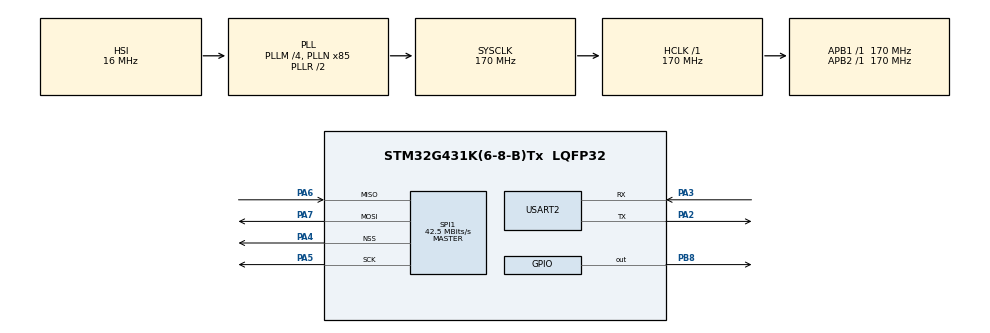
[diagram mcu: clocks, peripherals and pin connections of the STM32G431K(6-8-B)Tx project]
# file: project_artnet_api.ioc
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Mcu.Family=STM32G4
Mcu.Name=STM32G431K(6-8-B)Tx
Mcu.Package=LQFP32
NUCLEO-G431KB.LD2=true
NUCLEO-G431KB.VCP=false
NVIC.PriorityGroup=NVIC_PRIORITYGROUP_4
NVIC.SPI1_IRQn=true\:0\:0\:false\:false\:true\:true\:true\:true
NVIC.USART2_IRQn=true\:0\:0\:false\:false\:true\:true\:true\:true
PA13.GPIO_Label=T_SWDIO
PA13.Signal=SYS_JTMS-SWDIO
PA14.GPIO_Label=T_SWCLK
PA14.Signal=SYS_JTCK-SWCLK
PA2.Mode=Asynchronous
PA2.Signal=USART2_TX
PA3.Mode=Asynchronous
PA3.Signal=USART2_RX
PA4.Mode=NSS_Signal_Hard_Output
PA4.Signal=SPI1_NSS
PA5.Mode=Full_Duplex_Master
PA5.Signal=SPI1_SCK
PA6.Mode=Full_Duplex_Master
PA6.Signal=SPI1_MISO
PA7.Mode=Full_Duplex_Master
PA7.Signal=SPI1_MOSI
PB3.GPIO_Label=T_SWO
PB3.Signal=SYS_JTDO-SWO
PB8-BOOT0.Signal=GPIO_Output
ProjectManager.HeapSize=0x200
ProjectManager.StackSize=0x400
ProjectManager.TargetToolchain=STM32CubeIDE
RCC.ADC12Freq_Value=170000000
RCC.AHBFreq_Value=170000000
RCC.APB1Freq_Value=170000000
RCC.APB1TimFreq_Value=170000000
RCC.APB2Freq_Value=170000000
RCC.APB2TimFreq_Value=170000000
RCC.CortexFreq_Value=170000000
RCC.EXTERNAL_CLOCK_VALUE=12288000
RCC.HCLKFreq_Value=170000000
RCC.HSE_VALUE=8000000
RCC.HSI48_VALUE=48000000
RCC.HSI_VALUE=16000000
RCC.LSE_VALUE=32768
RCC.PLLM=RCC_PLLM_DIV4
RCC.PLLN=85
RCC.SYSCLKFreq_VALUE=170000000
RCC.SYSCLKSource=RCC_SYSCLKSOURCE_PLLCLK
RCC.USBFreq_Value=170000000
RCC.VCOOutputFreq_Value=340000000
SPI1.BaudRatePrescaler=SPI_BAUDRATEPRESCALER_4
SPI1.CalculateBaudRate=42.5 MBits/s
SPI1.Direction=SPI_DIRECTION_2LINES
SPI1.Mode=SPI_MODE_MASTER
SPI1.VirtualNSS=VM_NSSHARD
SPI1.VirtualType=VM_MASTER
USART2.VirtualMode-Asynchronous=VM_ASYNC
VP_NUCLEO-G431KB_VS_BSP_COMMON.Mode=COMMON
VP_SYS_VS_DBSignals.Mode=DisableDeadBatterySignals
board=NUCLEO-G431KB

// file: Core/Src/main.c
/* USER CODE BEGIN Header */
/**
 ******************************************************************************
 * @file           : main.c
 * @brief          : Main program body
 ******************************************************************************
 * @attention
 *
 * Copyright (c) 2025 STMicroelectronics.
 * All rights reserved.
 *
 * This software is licensed under terms that can be found in the LICENSE file
 * in the root directory of this software component.
 * If no LICENSE file comes with this software, it is provided AS-IS.
 *
 ******************************************************************************
 */
/* USER CODE END Header */
#include "main.h"
#include "spi.h"
#include "usart.h"
#include "gpio.h"

/* USER CODE BEGIN PV */
uint8_t spi_rx_buffer[10];
/* USER CODE END PV */

void SystemClock_Config(void);

/* USER CODE BEGIN 0 */
int __io_putchar(int chr)
{
	HAL_UART_Transmit(&huart2, (uint8_t *)&chr, 1, 0xFFFFU);

	return chr;
}

int _write(int file, char ptr, int len)
{
	for (int i = 0; i < len; i++)
	{
		__io_putchar(ptr++);
	}
	return len;
}

void Receive_SPI_Data() {
	printf("---------- Receive_SPI_Data ----------\r\n");
	HAL_SPI_Receive(&hspi1, spi_rx_buffer, sizeof(spi_rx_buffer));
}

void HAL_SPI_RxCpltCallback(SPI_HandleTypeDef *hspi) {
	printf("---------- HAL_SPI_RxCpltCallback ----------\r\n");
	if (hspi->Instance == SPI1) {
		printf("SPI Data Received: %s\n", spi_rx_buffer);

		Receive_SPI_Data();
	}
}
/* USER CODE END 0 */

int main(void)
{

	/* MCU Configuration--------------------------------------------------------*/

	/* Reset of all peripherals, Initializes the Flash interface and the Systick. */
	HAL_Init();

	/* Configure the system clock */
	SystemClock_Config();

	/* Initialize all configured peripherals */
	MX_GPIO_Init();
	MX_SPI1_Init();
	MX_USART2_UART_Init();
	/* USER CODE BEGIN 2 */
	Receive_SPI_Data();
	printf("---------- BEGIN ----------\r\n");
	/* USER CODE END 2 */

	/* Initialize leds */
	BSP_LED_Init(LED_GREEN);

	/* Infinite loop */
	/* USER CODE BEGIN WHILE */
	while (1)
	{
		printf("---------- LOOP ----------\r\n");
		/* USER CODE END WHILE */

	}
}

void SystemClock_Config(void)
{
	RCC_OscInitTypeDef RCC_OscInitStruct = {0};
	RCC_ClkInitTypeDef RCC_ClkInitStruct = {0};

	/** Configure the main internal regulator output voltage
	 */
	HAL_PWREx_ControlVoltageScaling(PWR_REGULATOR_VOLTAGE_SCALE1_BOOST);

	/** Initializes the RCC Oscillators according to the specified parameters
	 * in the RCC_OscInitTypeDef structure.
	 */
	RCC_OscInitStruct.OscillatorType = RCC_OSCILLATORTYPE_HSI;
	RCC_OscInitStruct.HSIState = RCC_HSI_ON;
	RCC_OscInitStruct.HSICalibrationValue = RCC_HSICALIBRATION_DEFAULT;
	RCC_OscInitStruct.PLL.PLLState = RCC_PLL_ON;
	RCC_OscInitStruct.PLL.PLLSource = RCC_PLLSOURCE_HSI;
	RCC_OscInitStruct.PLL.PLLM = RCC_PLLM_DIV4;
	RCC_OscInitStruct.PLL.PLLN = 85;
	RCC_OscInitStruct.PLL.PLLP = RCC_PLLP_DIV2;
	RCC_OscInitStruct.PLL.PLLQ = RCC_PLLQ_DIV2;
	RCC_OscInitStruct.PLL.PLLR = RCC_PLLR_DIV2;
	if (HAL_RCC_OscConfig(&RCC_OscInitStruct) != HAL_OK)
	{
		Error_Handler();
	}

	/** Initializes the CPU, AHB and APB buses clocks
	 */
	RCC_ClkInitStruct.ClockType = RCC_CLOCKTYPE_HCLK|RCC_CLOCKTYPE_SYSCLK
			|RCC_CLOCKTYPE_PCLK1|RCC_CLOCKTYPE_PCLK2;
	RCC_ClkInitStruct.SYSCLKSource = RCC_SYSCLKSOURCE_PLLCLK;
	RCC_ClkInitStruct.AHBCLKDivider = RCC_SYSCLK_DIV1;
	RCC_ClkInitStruct.APB1CLKDivider = RCC_HCLK_DIV1;
	RCC_ClkInitStruct.APB2CLKDivider = RCC_HCLK_DIV1;

	if (HAL_RCC_ClockConfig(&RCC_ClkInitStruct, FLASH_LATENCY_4) != HAL_OK)
	{
		Error_Handler();
	}
}

/* USER CODE BEGIN Header */
/**
 ******************************************************************************
 * @file           : main.c
 * @brief          : Main program body
 ******************************************************************************
 * @attention
 *
 * Copyright (c) 2025 STMicroelectronics.
 * All rights reserved.
 *
 * This software is licensed under terms that can be found in the LICENSE file
 * in the root directory of this software component.
 * If no LICENSE file comes with this software, it is provided AS-IS.
 *
 ******************************************************************************
 */
/* USER CODE END Header */

void Error_Handler(void)
{
	__disable_irq();
	while (1)
	{
	}
}
